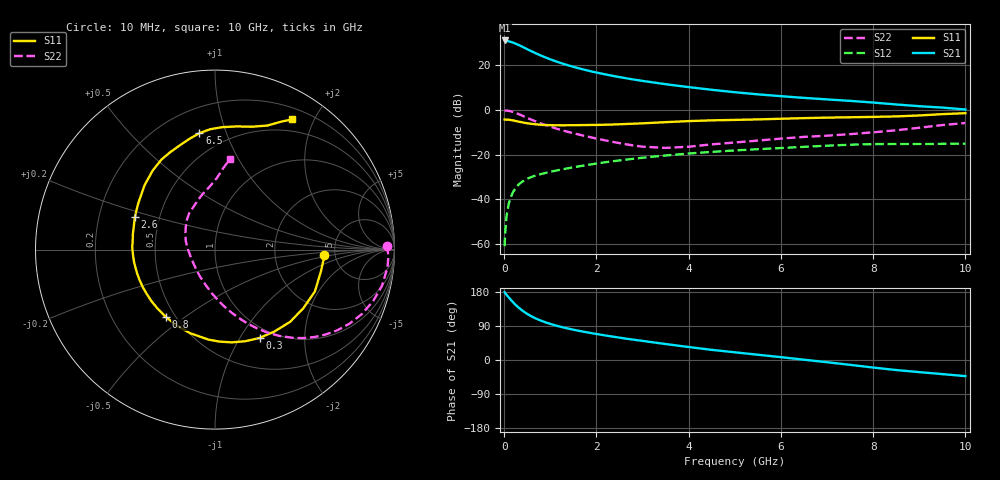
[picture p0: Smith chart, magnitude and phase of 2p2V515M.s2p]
! (c) 2009  Infineon Technologies AG, Munich
! Infineon Technologies  Discrete & RF Semiconductors
! BFP420
! VCE =  2.5 V,  IC =  15 mA
! Common Emitter S-Parameters:  Nov 2009
# GHz  S  MA  R  50
!  f  S11  S21  S12  S22
! GHz  MAG  ANG  MAG  ANG  MAG  ANG  MAG  ANG
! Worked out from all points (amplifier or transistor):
!   46 points, 10 MHz to 10 GHz, reference 50 ohm
!   highest |S21| = 31.0 dB at 10 MHz (marker M1)
!   |S21| within 3 dB of that: start of sweep to 412.4 MHz
!   unconditionally stable (mu >= 1): 2.023 GHz to end of sweep
!   at 300 MHz: K = 0.26, MSG = 31.4 dB, |S12| = -33.6 dB
!   at 1.7 GHz: K = 0.92, MSG = 21.6 dB, |S12| = -25.0 dB
!   at 10 GHz: K = 1.07, MAG = 6.0 dB, |S12| = -15.1 dB
!   lowest NFmin = 1.06 dB at 900 MHz
!   S11 on the Smith chart (normalised r, x): 10 MHz: 4.10, -0.36; 300 MHz: 0.86, -1.22; 800 MHz: 0.45, -0.43; 2.6 GHz: 0.36, +0.17; 6.5 GHz: 0.36, +0.81; 10 GHz: 0.34, +1.71
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0.01  0.6103 -2.6  35.61 179.0  0.0009 75.4  0.9577 1.3
0.02  0.6088 -4.4  34.75 176.8  0.0016 85.1  0.9671 -2.1
0.05  0.6025 -11.5  34.55 172.3  0.0041 86.7  0.9661 -5.9
0.1  0.6035 -22.7  34.03 165.1  0.008 80.0  0.952 -12.2
0.15  0.5905 -33.6  32.97 158.1  0.0116 75.6  0.9266 -18.1
0.2  0.5807 -43.9  31.67 151.6  0.015 72.1  0.8935 -23.7
0.25  0.5639 -53.9  30.11 145.3  0.018 68.6  0.8567 -28.7
0.3  0.5515 -63.2  28.65 139.7  0.0208 65.5  0.8165 -33.4
0.4  0.5252 -79.8  25.58 129.9  0.0252 60.2  0.7368 -41.4
0.5  0.5028 -94.1  22.73 121.7  0.0289 56.6  0.6631 -48.0
0.6  0.4861 -106.4  20.26 114.6  0.0319 54.0  0.5988 -53.4
0.8  0.4646 -126.0  16.32 103.7  0.0369 51.0  0.4965 -62.0
1  0.4559 -141.2  13.49 95.3  0.0413 49.5  0.4211 -69.0
1.2  0.4533 -153.1  11.4 88.4  0.0456 48.6  0.3639 -75.2
1.7  0.4574 -175.1  8.088 75.2  0.0565 47.0  0.2682 -89.1
2.6  0.4822 157.6  5.18 57.1  0.0764 42.2  0.173 -118.3
3.5  0.5319 137.5  3.75 42.1  0.0957 35.7  0.1413 -158.9
5.5  0.6127 108.8  2.226 13.9  0.1322 19.1  0.2061 142.2
6.5  0.6547 97.6  1.855 0.8  0.1492 10.6  0.2491 125.2
7  0.6715 92.2  1.715 -5.9  0.1582 6.0  0.2651 117.3
8.5  0.7154 73.1  1.322 -26.5  0.1724 -10.5  0.35 95.2
10  0.8442 59.3  1.02 -42.6  0.1761 -21.4  0.5092 80.7
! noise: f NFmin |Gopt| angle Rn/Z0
0.9  1.06  0.09  -152  0.13
1.8  1.36  0.18  -147  0.12
2.4  1.49  0.17  -148  0.14
3  1.53  0.25  -138  0.14
4  1.67  0.38  -119  0.2
5  2.14  0.44  -103  0.32
6  2.48  0.5  -88  0.47
